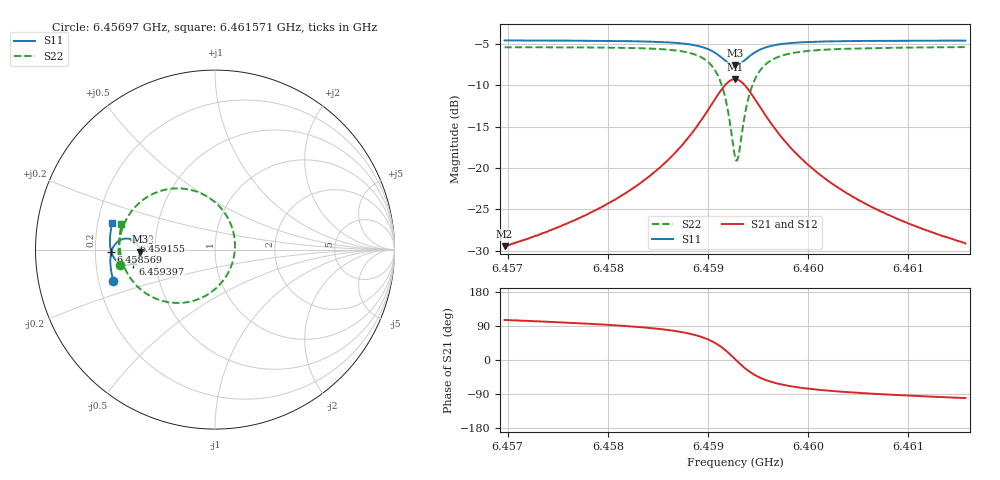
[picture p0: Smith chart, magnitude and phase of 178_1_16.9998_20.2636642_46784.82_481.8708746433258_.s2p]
#  HZ  S  RI  R  50.00
! Rohde & Schwarz Vector Network Analyzer
! Rohde-Schwarz,ZNB20-2Port,1311601062101988,3.16
! Created: UTC 3/20/2024, 11:00:02 PM
! freq[Hz]  re:S11  im:S11  re:S21  im:S21  re:S12  im:S12  re:S22  im:S22
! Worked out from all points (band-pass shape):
!   401 points, 6.45697 GHz to 6.461571 GHz, reference 50 ohm
!   highest |S21| = -9.24 dB at 6.45927 GHz (marker M1); lowest = -29.4 dB at 6.45697 GHz (marker M2)
!   |S21| within 3 dB of the highest: 6.45904 GHz to 6.4595 GHz (460.4 kHz wide, 0.00713 % of centre)
!   lowest |S11| = -7.6 dB at 6.45927 GHz (marker M3), VSWR 2.44, Z = 20.5 - j0.589 ohm
!   |S11| at or under -10 dB: nowhere
!   |S22| runs from -19.1 to -5.4 dB; largest |S21 - S12| = 0.013
!   S11 on the Smith chart (normalised r, x): 6.45697 GHz: 0.26, -0.14; 6.458569 GHz: 0.27, -0.01; 6.459155 GHz: 0.37, +0.05; 6.459397 GHz: 0.37, -0.07; 6.461571 GHz: 0.26, +0.12
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6.4569699e9  -0.5659 -0.1741  -0.00907 0.0325  -0.00733 0.0324  -0.5314 -0.0875
6.4577405e9  -0.5803 -0.1067  -0.00582 0.0505  -0.00328 0.0498  -0.5372 0.00273
6.4581776e9  -0.5833 -0.0629  0.000392 0.0705  0.00358 0.0692  -0.529 0.0722
6.4585111e9  -0.5796 -0.0227  0.0138 0.0988  0.0178 0.0961  -0.5043 0.1479
6.4585686e9  -0.5778 -0.0148  0.0181 0.1057  0.0221 0.1027  -0.4963 0.1645
6.4587757e9  -0.5649 0.0173  0.0456 0.1382  0.0498 0.1334  -0.4451 0.2374
6.4589252e9  -0.5423 0.0438  0.0908 0.169  0.094 0.1623  -0.3619 0.3022
6.4590632e9  -0.4984 0.0614  0.1779 0.1857  0.179 0.1783  -0.2028 0.3412
6.4591552e9  -0.4537 0.0512  0.2678 0.1547  0.2681 0.1488  -0.0365 0.2913
6.4592242e9  -0.4246 0.0191  0.3285 0.083  0.3305 0.0777  0.0789 0.1624
6.4592702e9  -0.4177 -0.0118  0.3449 0.0152  0.3487 0.00824  0.1112 0.0359
6.4592817e9  -0.4181 -0.02  0.3448 -0.00256  0.3487 -0.0101  0.1109 0.00225
6.4593047e9  -0.4216 -0.0354  0.3392 -0.0372  0.3433 -0.0462  0.1001 -0.0631
6.4593507e9  -0.4371 -0.0616  0.3109 -0.0971  0.3132 -0.1089  0.0428 -0.176
6.4593967e9  -0.4592 -0.078  0.2691 -0.1382  0.2683 -0.1513  -0.0416 -0.2508
6.4594888e9  -0.5025 -0.085  0.1846 -0.1696  0.1786 -0.181  -0.2097 -0.2974
6.4596383e9  -0.5464 -0.0646  0.0968 -0.1562  0.0885 -0.1622  -0.377 -0.2488
6.4597993e9  -0.568 -0.0371  0.0519 -0.1284  0.0443 -0.1312  -0.4574 -0.1773
6.4600408e9  -0.5808 -0.0015  0.0228 -0.097  0.0169 -0.0977  -0.5057 -0.0953
6.4603859e9  -0.5857 0.0394  0.0066 -0.0702  0.00243 -0.0699  -0.5276 -0.0165
6.4608115e9  -0.5839 0.0823  -0.00127 -0.0519  -0.00398 -0.051  -0.5319 0.0517
6.4615706e9  -0.5718 0.1495  -0.00635 -0.0345  -0.00808 -0.0336  -0.5211 0.1413
